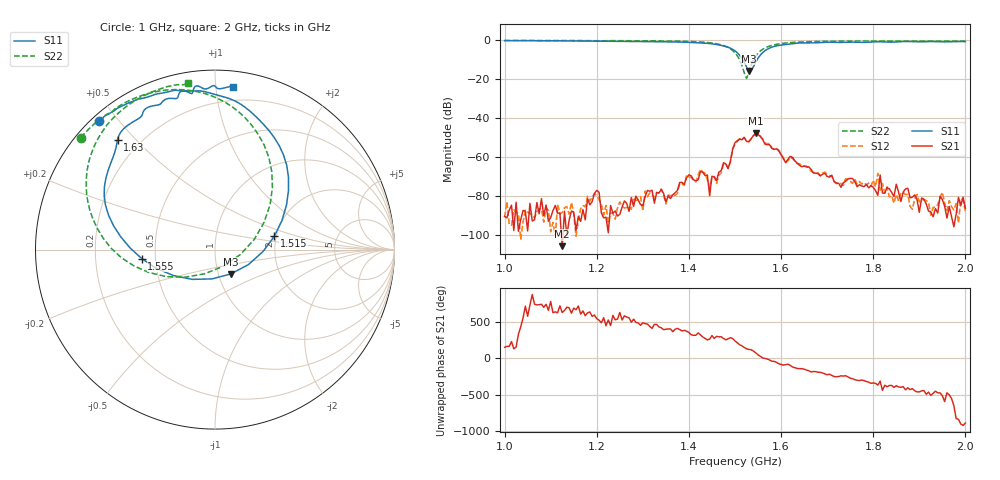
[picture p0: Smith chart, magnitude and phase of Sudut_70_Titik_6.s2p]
# Hz S RI R 50
! CMT, C1220, 16058040, 17.2.0/1
! Date: 14/08/2018 12:20:49
! Data: Format (Calibration Info)
! Freq  S11: Re/Im (F2)  S21: Re/Im (F2)  S12: Re/Im (F2)  S22: Re/Im (F2)
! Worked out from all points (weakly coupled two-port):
!   201 points, 1 GHz to 2 GHz, reference 50 ohm
!   highest |S21| = -47.73 dB at 1.545 GHz (marker M1); lowest = -105.6 dB at 1.125 GHz (marker M2)
!   lowest |S11| = -15.8 dB at 1.53 GHz (marker M3), VSWR 1.39, Z = 57.3 - j16 ohm
!   |S11| at or under -10 dB: 1.516 GHz to 1.548 GHz (31.79 MHz wide, 2.07 % of centre)
!   |S22| runs from -19.7 to -0.2 dB; largest |S21 - S12| = 0.00028
!   S11 on the Smith chart (normalised r, x): 1 GHz: 0.02, +0.45; 1.515 GHz: 1.95, +0.33; 1.555 GHz: 0.42, -0.05; 1.63 GHz: 0.12, +0.44; 2 GHz: 0.11, +1.11
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1e9  -0.6442 0.7159  -2.66e-05 1.52e-05  -2.05e-05 2.04e-05  -0.7479 0.6239
1.125e9  -0.5143 0.8023  -1.19e-07 -5.28e-06  2.22e-05 -3.13e-05  -0.6545 0.7161
1.17e9  -0.465 0.8233  1.63e-05 -4.26e-05  5.04e-05 -2.78e-05  -0.6116 0.7485
1.335e9  -0.1973 0.8857  4.14e-05 0.000116  6.34e-05 0.000101  -0.3965 0.8623
1.425e9  0.0861 0.839  0.000333 -0.00027  0.000376 -0.000323  -0.1148 0.883
1.44e9  0.1449 0.8089  -0.000107 -0.000333  -8.67e-05 -0.000252  -0.0353 0.8626
1.445e9  0.1652 0.7948  -1.18e-05 -0.000103  -2.51e-05 -0.000164  -0.00517 0.8511
1.45e9  0.1874 0.7775  0.000212 -0.000247  0.000131 -0.000284  0.0269 0.8364
1.485e9  0.3816 0.5281  -2.54e-05 -0.000514  -7.58e-05 -0.000505  0.2734 0.5834
1.5e9  0.4097 0.3312  -0.00127 -0.00198  -0.00114 -0.00184  0.32 0.3453
1.515e9  0.3305 0.0744  -0.00276 0.000456  -0.00276 0.000388  0.2191 0.057
1.53e9  0.0882 -0.1357  -0.0013 0.00212  -0.00137 0.00209  -0.0566 -0.1344
1.545e9  -0.2304 -0.1449  0.00109 0.00396  0.000943 0.00391  -0.3689 -0.1274
1.555e9  -0.4077 -0.0505  0.00301 0.00151  0.00299 0.00174  -0.5222 -0.0447
1.63e9  -0.5429 0.6131  -0.000528 -0.000607  -0.00045 -0.000663  -0.6865 0.5414
1.67e9  -0.422 0.7321  -0.000395 1.68e-05  -0.000405 1.46e-05  -0.6192 0.6704
1.805e9  -0.1928 0.8792  0.000135 3.43e-05  0.000173 3.22e-05  -0.4112 0.8496
1.81e9  -0.1845 0.8835  0.000104 -1.65e-05  0.000369 -0.000102  -0.4046 0.8535
1.815e9  -0.1747 0.8846  0.000243 0.000251  0.000144 4.25e-06  -0.3976 0.8569
1.82e9  -0.1634 0.8822  1.83e-05 -0.00012  0.000167 -0.00013  -0.3907 0.8601
1.835e9  -0.1337 0.8695  0.00015 -3.9e-05  9.45e-05 -1.96e-05  -0.3711 0.8697
2e9  0.0992 0.9038  -4.82e-05 -8.33e-06  -3.81e-05 1.51e-05  -0.1494 0.9277
